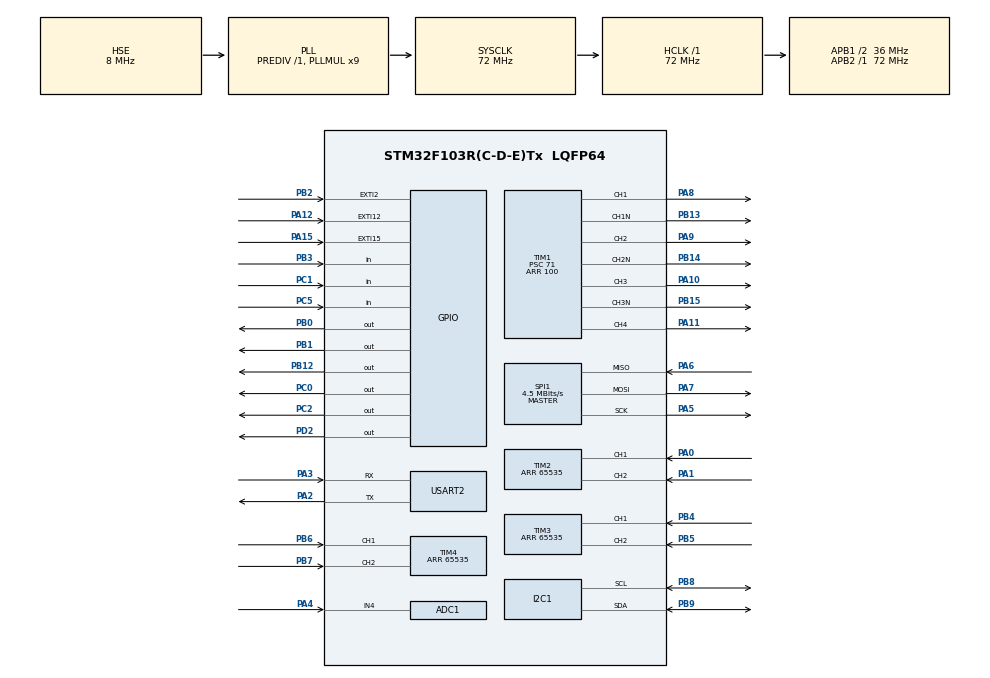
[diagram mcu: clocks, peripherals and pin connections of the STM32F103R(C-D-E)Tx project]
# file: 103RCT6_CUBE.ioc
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ADC1.Channel-0\#ChannelRegularConversion=ADC_CHANNEL_4
ADC1.NbrOfConversionFlag=1
ADC1.Rank-0\#ChannelRegularConversion=1
ADC1.SamplingTime-0\#ChannelRegularConversion=ADC_SAMPLETIME_1CYCLE_5
ADC1.master=1
Mcu.Family=STM32F1
Mcu.Name=STM32F103R(C-D-E)Tx
Mcu.Package=LQFP64
NVIC.PriorityGroup=NVIC_PRIORITYGROUP_4
NVIC.USART2_IRQn=true\:0\:0\:false\:false\:true\:true\:true
PA0-WKUP.Signal=S_TIM2_CH1_ETR
PA1.Signal=S_TIM2_CH2
PA10.Signal=S_TIM1_CH3
PA11.Signal=S_TIM1_CH4
PA12.Signal=GPXTI12
PA13.Mode=Serial_Wire
PA13.Signal=SYS_JTMS-SWDIO
PA14.Mode=Serial_Wire
PA14.Signal=SYS_JTCK-SWCLK
PA15.Signal=GPXTI15
PA2.Mode=Asynchronous
PA2.Signal=USART2_TX
PA3.Mode=Asynchronous
PA3.Signal=USART2_RX
PA4.Signal=ADCx_IN4
PA5.Mode=Full_Duplex_Master
PA5.Signal=SPI1_SCK
PA6.Mode=Full_Duplex_Master
PA6.Signal=SPI1_MISO
PA7.Mode=Full_Duplex_Master
PA7.Signal=SPI1_MOSI
PA8.Signal=S_TIM1_CH1
PA9.Signal=S_TIM1_CH2
PB0.Signal=GPIO_Output
PB1.Signal=GPIO_Output
PB12.GPIO_ModeDefaultOutputPP=GPIO_MODE_OUTPUT_PP
PB12.Signal=GPIO_Output
PB13.Mode=PWM Generation1 CH1 CH1N
PB13.Signal=TIM1_CH1N
PB14.Mode=PWM Generation2 CH2 CH2N
PB14.Signal=TIM1_CH2N
PB15.Mode=PWM Generation3 CH3 CH3N
PB15.Signal=TIM1_CH3N
PB2.Signal=GPXTI2
PB3.Signal=GPIO_Input
PB4.Signal=S_TIM3_CH1
PB5.Signal=S_TIM3_CH2
PB6.Signal=S_TIM4_CH1
PB7.Signal=S_TIM4_CH2
PB8.Mode=I2C
PB8.Signal=I2C1_SCL
PB9.Mode=I2C
PB9.Signal=I2C1_SDA
PC0.Signal=GPIO_Output
PC1.Signal=GPIO_Input
PC2.Signal=GPIO_Output
PC5.Signal=GPIO_Input
PD0-OSC_IN.Mode=HSE-External-Oscillator
PD0-OSC_IN.Signal=RCC_OSC_IN
PD1-OSC_OUT.Mode=HSE-External-Oscillator
PD1-OSC_OUT.Signal=RCC_OSC_OUT
PD2.Signal=GPIO_Output
ProjectManager.HeapSize=0x200
ProjectManager.StackSize=0x400
ProjectManager.TargetToolchain=MDK-ARM V5
RCC.ADCPresc=RCC_ADCPCLK2_DIV6
RCC.AHBFreq_Value=72000000
RCC.APB1CLKDivider=RCC_HCLK_DIV2
RCC.APB1Freq_Value=36000000
RCC.APB1TimFreq_Value=72000000
RCC.APB2Freq_Value=72000000
RCC.APB2TimFreq_Value=72000000
RCC.EnbaleCSS=true
RCC.HCLKFreq_Value=72000000
RCC.PLLMUL=RCC_PLL_MUL9
RCC.PLLSourceVirtual=RCC_PLLSOURCE_HSE
RCC.SYSCLKFreq_VALUE=72000000
RCC.SYSCLKSource=RCC_SYSCLKSOURCE_PLLCLK
RCC.USBFreq_Value=72000000
SH.ADCx_IN4.0=ADC1_IN4,IN4
SH.S_TIM1_CH1.0=TIM1_CH1,PWM Generation1 CH1 CH1N
SH.S_TIM1_CH2.0=TIM1_CH2,PWM Generation2 CH2 CH2N
SH.S_TIM1_CH3.0=TIM1_CH3,PWM Generation3 CH3 CH3N
SH.S_TIM1_CH4.0=TIM1_CH4,PWM Generation4 CH4
SH.S_TIM2_CH1_ETR.0=TIM2_CH1,Encoder_Interface
SH.S_TIM2_CH2.0=TIM2_CH2,Encoder_Interface
SH.S_TIM3_CH1.0=TIM3_CH1,Encoder_Interface
SH.S_TIM3_CH2.0=TIM3_CH2,Encoder_Interface
SH.S_TIM4_CH1.0=TIM4_CH1,Encoder_Interface
SH.S_TIM4_CH2.0=TIM4_CH2,Encoder_Interface
SPI1.BaudRatePrescaler=SPI_BAUDRATEPRESCALER_16
SPI1.CalculateBaudRate=4.5 MBits/s
SPI1.Direction=SPI_DIRECTION_2LINES
SPI1.Mode=SPI_MODE_MASTER
SPI1.VirtualType=VM_MASTER
TIM1.Channel-PWM\ Generation1\ CH1\ CH1N=TIM_CHANNEL_1
TIM1.Channel-PWM\ Generation2\ CH2\ CH2N=TIM_CHANNEL_2
TIM1.Channel-PWM\ Generation3\ CH3\ CH3N=TIM_CHANNEL_3
TIM1.Channel-PWM\ Generation4\ CH4=TIM_CHANNEL_4
TIM1.Period=100
TIM1.Prescaler=71
TIM2.EncoderMode=TIM_ENCODERMODE_TI12
TIM2.Period=65535
TIM3.EncoderMode=TIM_ENCODERMODE_TI12
TIM3.Period=65535
TIM4.EncoderMode=TIM_ENCODERMODE_TI12
TIM4.Period=65535
USART2.VirtualMode=VM_ASYNC
VP_TIM1_VS_ClockSourceINT.Mode=Internal
board=custom

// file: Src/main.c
/* USER CODE BEGIN Header */
/**
  ******************************************************************************
  * @file           : main.c
  * @brief          : Main program body
  ******************************************************************************
  * @attention
  *
  * <h2><center>&copy; Copyright (c) 2019 STMicroelectronics.
  * All rights reserved.</center></h2>
  *
  * This software component is licensed by ST under BSD 3-Clause license,
  * the "License"; You may not use this file except in compliance with the
  * License. You may obtain a copy of the License at:
  *                        opensource.org/licenses/BSD-3-Clause
  *
  ******************************************************************************
  */
/* USER CODE END Header */

#include "main.h"

/* USER CODE BEGIN Includes */
#include "core_cm3.h"
#include "stm32f1xx_ll_gpio.h"
#include "stdio.h"
/* USER CODE END Includes */

/* USER CODE BEGIN PD */
#define SYS_TICK_PERIOD 72000000

static void usart_send(void);
static void set_blink(uint16_t period);
static void led_task(void);
static void motor_1_forward(void);
static void motor_2_forward(void);
static void motor_3_forward(void);
static void motor_4_forward(void);

static void motor_1_reverse(void);
static void motor_1_brake(void);

/* USER CODE END PD */

/* USER CODE BEGIN PM */
#define USART_DEBUG huart2

/* USER CODE END PM */

ADC_HandleTypeDef hadc1;

I2C_HandleTypeDef hi2c1;

SPI_HandleTypeDef hspi1;

TIM_HandleTypeDef htim1;
TIM_HandleTypeDef htim2;
TIM_HandleTypeDef htim3;
TIM_HandleTypeDef htim4;

UART_HandleTypeDef huart2;

/* USER CODE BEGIN PV */
uint32_t led_period = 0;

/* USER CODE END PV */

void SystemClock_Config(void);
static void MX_GPIO_Init(void);
static void MX_USART2_UART_Init(void);
static void MX_ADC1_Init(void);
static void MX_I2C1_Init(void);
static void MX_SPI1_Init(void);
static void MX_TIM1_Init(void);
static void MX_TIM2_Init(void);
static void MX_TIM3_Init(void);
static void MX_TIM4_Init(void);

int main(void)
{

  /* MCU Configuration--------------------------------------------------------*/

  /* Reset of all peripherals, Initializes the Flash interface and the Systick. */
  HAL_Init();

  /* Configure the system clock */
  SystemClock_Config();

  /* Initialize all configured peripherals */
  MX_GPIO_Init();
  MX_USART2_UART_Init();
  MX_ADC1_Init();
  MX_I2C1_Init();
  MX_SPI1_Init();
  MX_TIM1_Init();
  MX_TIM2_Init();
  MX_TIM3_Init();
  MX_TIM4_Init();
  /* USER CODE BEGIN 2 */
    set_blink(1000);

    __HAL_TIM_SET_COUNTER(&htim2, 0);
    __HAL_TIM_SET_COUNTER(&htim3, 0);
    __HAL_TIM_SET_COUNTER(&htim4, 0);

    HAL_TIM_Encoder_Start(&htim2, TIM_CHANNEL_ALL);
    HAL_TIM_Encoder_Start(&htim3, TIM_CHANNEL_ALL);
    HAL_TIM_Encoder_Start(&htim4, TIM_CHANNEL_ALL);

  /* USER CODE END 2 */

  /* Infinite loop */
  while (1)
  {

    /* USER CODE BEGIN 3 */
    //usart_send();

    led_task();
  }
  /* USER CODE END 3 */
}

void SystemClock_Config(void)
{
  RCC_OscInitTypeDef RCC_OscInitStruct = {0};
  RCC_ClkInitTypeDef RCC_ClkInitStruct = {0};
  RCC_PeriphCLKInitTypeDef PeriphClkInit = {0};

  /** Initializes the CPU, AHB and APB busses clocks
  */
  RCC_OscInitStruct.OscillatorType = RCC_OSCILLATORTYPE_HSE;
  RCC_OscInitStruct.HSEState = RCC_HSE_ON;
  RCC_OscInitStruct.HSEPredivValue = RCC_HSE_PREDIV_DIV1;
  RCC_OscInitStruct.HSIState = RCC_HSI_ON;
  RCC_OscInitStruct.PLL.PLLState = RCC_PLL_ON;
  RCC_OscInitStruct.PLL.PLLSource = RCC_PLLSOURCE_HSE;
  RCC_OscInitStruct.PLL.PLLMUL = RCC_PLL_MUL9;
  if (HAL_RCC_OscConfig(&RCC_OscInitStruct) != HAL_OK)
  {
    Error_Handler();
  }
  /** Initializes the CPU, AHB and APB busses clocks
  */
  RCC_ClkInitStruct.ClockType = RCC_CLOCKTYPE_HCLK|RCC_CLOCKTYPE_SYSCLK
                              |RCC_CLOCKTYPE_PCLK1|RCC_CLOCKTYPE_PCLK2;
  RCC_ClkInitStruct.SYSCLKSource = RCC_SYSCLKSOURCE_PLLCLK;
  RCC_ClkInitStruct.AHBCLKDivider = RCC_SYSCLK_DIV1;
  RCC_ClkInitStruct.APB1CLKDivider = RCC_HCLK_DIV2;
  RCC_ClkInitStruct.APB2CLKDivider = RCC_HCLK_DIV1;

  if (HAL_RCC_ClockConfig(&RCC_ClkInitStruct, FLASH_LATENCY_2) != HAL_OK)
  {
    Error_Handler();
  }
  PeriphClkInit.PeriphClockSelection = RCC_PERIPHCLK_ADC;
  PeriphClkInit.AdcClockSelection = RCC_ADCPCLK2_DIV6;
  if (HAL_RCCEx_PeriphCLKConfig(&PeriphClkInit) != HAL_OK)
  {
    Error_Handler();
  }
  /** Enables the Clock Security System
  */
  HAL_RCC_EnableCSS();
}

static void MX_ADC1_Init(void)
{

  ADC_ChannelConfTypeDef sConfig = {0};

  /** Common config
  */
  hadc1.Instance = ADC1;
  hadc1.Init.ScanConvMode = ADC_SCAN_DISABLE;
  hadc1.Init.ContinuousConvMode = DISABLE;
  hadc1.Init.DiscontinuousConvMode = DISABLE;
  hadc1.Init.ExternalTrigConv = ADC_SOFTWARE_START;
  hadc1.Init.DataAlign = ADC_DATAALIGN_RIGHT;
  hadc1.Init.NbrOfConversion = 1;
  if (HAL_ADC_Init(&hadc1) != HAL_OK)
  {
    Error_Handler();
  }
  /** Configure Regular Channel
  */
  sConfig.Channel = ADC_CHANNEL_4;
  sConfig.Rank = ADC_REGULAR_RANK_1;
  sConfig.SamplingTime = ADC_SAMPLETIME_1CYCLE_5;
  if (HAL_ADC_ConfigChannel(&hadc1, &sConfig) != HAL_OK)
  {
    Error_Handler();
  }

}

static void MX_I2C1_Init(void)
{

  hi2c1.Instance = I2C1;
  hi2c1.Init.ClockSpeed = 100000;
  hi2c1.Init.DutyCycle = I2C_DUTYCYCLE_2;
  hi2c1.Init.OwnAddress1 = 0;
  hi2c1.Init.AddressingMode = I2C_ADDRESSINGMODE_7BIT;
  hi2c1.Init.DualAddressMode = I2C_DUALADDRESS_DISABLE;
  hi2c1.Init.OwnAddress2 = 0;
  hi2c1.Init.GeneralCallMode = I2C_GENERALCALL_DISABLE;
  hi2c1.Init.NoStretchMode = I2C_NOSTRETCH_DISABLE;
  if (HAL_I2C_Init(&hi2c1) != HAL_OK)
  {
    Error_Handler();
  }

}

static void MX_SPI1_Init(void)
{

  /* SPI1 parameter configuration*/
  hspi1.Instance = SPI1;
  hspi1.Init.Mode = SPI_MODE_MASTER;
  hspi1.Init.Direction = SPI_DIRECTION_2LINES;
  hspi1.Init.DataSize = SPI_DATASIZE_8BIT;
  hspi1.Init.CLKPolarity = SPI_POLARITY_LOW;
  hspi1.Init.CLKPhase = SPI_PHASE_1EDGE;
  hspi1.Init.NSS = SPI_NSS_SOFT;
  hspi1.Init.BaudRatePrescaler = SPI_BAUDRATEPRESCALER_16;
  hspi1.Init.FirstBit = SPI_FIRSTBIT_MSB;
  hspi1.Init.TIMode = SPI_TIMODE_DISABLE;
  hspi1.Init.CRCCalculation = SPI_CRCCALCULATION_DISABLE;
  hspi1.Init.CRCPolynomial = 10;
  if (HAL_SPI_Init(&hspi1) != HAL_OK)
  {
    Error_Handler();
  }

}

static void MX_TIM1_Init(void)
{

  TIM_ClockConfigTypeDef sClockSourceConfig = {0};
  TIM_MasterConfigTypeDef sMasterConfig = {0};
  TIM_OC_InitTypeDef sConfigOC = {0};
  TIM_BreakDeadTimeConfigTypeDef sBreakDeadTimeConfig = {0};

  htim1.Instance = TIM1;
  htim1.Init.Prescaler = 71;
  htim1.Init.CounterMode = TIM_COUNTERMODE_UP;
  htim1.Init.Period = 100;
  htim1.Init.ClockDivision = TIM_CLOCKDIVISION_DIV1;
  htim1.Init.RepetitionCounter = 0;
  htim1.Init.AutoReloadPreload = TIM_AUTORELOAD_PRELOAD_DISABLE;
  if (HAL_TIM_Base_Init(&htim1) != HAL_OK)
  {
    Error_Handler();
  }
  sClockSourceConfig.ClockSource = TIM_CLOCKSOURCE_INTERNAL;
  if (HAL_TIM_ConfigClockSource(&htim1, &sClockSourceConfig) != HAL_OK)
  {
    Error_Handler();
  }
  if (HAL_TIM_PWM_Init(&htim1) != HAL_OK)
  {
    Error_Handler();
  }
  sMasterConfig.MasterOutputTrigger = TIM_TRGO_RESET;
  sMasterConfig.MasterSlaveMode = TIM_MASTERSLAVEMODE_DISABLE;
  if (HAL_TIMEx_MasterConfigSynchronization(&htim1, &sMasterConfig) != HAL_OK)
  {
    Error_Handler();
  }
  sConfigOC.OCMode = TIM_OCMODE_PWM1;
  sConfigOC.Pulse = 0;
  sConfigOC.OCPolarity = TIM_OCPOLARITY_HIGH;
  sConfigOC.OCNPolarity = TIM_OCNPOLARITY_HIGH;
  sConfigOC.OCFastMode = TIM_OCFAST_DISABLE;
  sConfigOC.OCIdleState = TIM_OCIDLESTATE_RESET;
  sConfigOC.OCNIdleState = TIM_OCNIDLESTATE_RESET;
  if (HAL_TIM_PWM_ConfigChannel(&htim1, &sConfigOC, TIM_CHANNEL_1) != HAL_OK)
  {
    Error_Handler();
  }
  if (HAL_TIM_PWM_ConfigChannel(&htim1, &sConfigOC, TIM_CHANNEL_2) != HAL_OK)
  {
    Error_Handler();
  }
  if (HAL_TIM_PWM_ConfigChannel(&htim1, &sConfigOC, TIM_CHANNEL_3) != HAL_OK)
  {
    Error_Handler();
  }
  if (HAL_TIM_PWM_ConfigChannel(&htim1, &sConfigOC, TIM_CHANNEL_4) != HAL_OK)
  {
    Error_Handler();
  }
  sBreakDeadTimeConfig.OffStateRunMode = TIM_OSSR_DISABLE;
  sBreakDeadTimeConfig.OffStateIDLEMode = TIM_OSSI_DISABLE;
  sBreakDeadTimeConfig.LockLevel = TIM_LOCKLEVEL_OFF;
  sBreakDeadTimeConfig.DeadTime = 0;
  sBreakDeadTimeConfig.BreakState = TIM_BREAK_DISABLE;
  sBreakDeadTimeConfig.BreakPolarity = TIM_BREAKPOLARITY_HIGH;
  sBreakDeadTimeConfig.AutomaticOutput = TIM_AUTOMATICOUTPUT_DISABLE;
  if (HAL_TIMEx_ConfigBreakDeadTime(&htim1, &sBreakDeadTimeConfig) != HAL_OK)
  {
    Error_Handler();
  }
  HAL_TIM_MspPostInit(&htim1);

}

static void MX_TIM2_Init(void)
{

  TIM_Encoder_InitTypeDef sConfig = {0};
  TIM_MasterConfigTypeDef sMasterConfig = {0};

  htim2.Instance = TIM2;
  htim2.Init.Prescaler = 0;
  htim2.Init.CounterMode = TIM_COUNTERMODE_UP;
  htim2.Init.Period = 65535;
  htim2.Init.ClockDivision = TIM_CLOCKDIVISION_DIV1;
  htim2.Init.AutoReloadPreload = TIM_AUTORELOAD_PRELOAD_DISABLE;
  sConfig.EncoderMode = TIM_ENCODERMODE_TI12;
  sConfig.IC1Polarity = TIM_ICPOLARITY_RISING;
  sConfig.IC1Selection = TIM_ICSELECTION_DIRECTTI;
  sConfig.IC1Prescaler = TIM_ICPSC_DIV1;
  sConfig.IC1Filter = 0;
  sConfig.IC2Polarity = TIM_ICPOLARITY_RISING;
  sConfig.IC2Selection = TIM_ICSELECTION_DIRECTTI;
  sConfig.IC2Prescaler = TIM_ICPSC_DIV1;
  sConfig.IC2Filter = 0;
  if (HAL_TIM_Encoder_Init(&htim2, &sConfig) != HAL_OK)
  {
    Error_Handler();
  }
  sMasterConfig.MasterOutputTrigger = TIM_TRGO_RESET;
  sMasterConfig.MasterSlaveMode = TIM_MASTERSLAVEMODE_DISABLE;
  if (HAL_TIMEx_MasterConfigSynchronization(&htim2, &sMasterConfig) != HAL_OK)
  {
    Error_Handler();
  }

}

static void MX_TIM3_Init(void)
{

  TIM_Encoder_InitTypeDef sConfig = {0};
  TIM_MasterConfigTypeDef sMasterConfig = {0};

  htim3.Instance = TIM3;
  htim3.Init.Prescaler = 0;
  htim3.Init.CounterMode = TIM_COUNTERMODE_UP;
  htim3.Init.Period = 65535;
  htim3.Init.ClockDivision = TIM_CLOCKDIVISION_DIV1;
  htim3.Init.AutoReloadPreload = TIM_AUTORELOAD_PRELOAD_DISABLE;
  sConfig.EncoderMode = TIM_ENCODERMODE_TI12;
  sConfig.IC1Polarity = TIM_ICPOLARITY_RISING;
  sConfig.IC1Selection = TIM_ICSELECTION_DIRECTTI;
  sConfig.IC1Prescaler = TIM_ICPSC_DIV1;
  sConfig.IC1Filter = 0;
  sConfig.IC2Polarity = TIM_ICPOLARITY_RISING;
  sConfig.IC2Selection = TIM_ICSELECTION_DIRECTTI;
  sConfig.IC2Prescaler = TIM_ICPSC_DIV1;
  sConfig.IC2Filter = 0;
  if (HAL_TIM_Encoder_Init(&htim3, &sConfig) != HAL_OK)
  {
    Error_Handler();
  }
  sMasterConfig.MasterOutputTrigger = TIM_TRGO_RESET;
  sMasterConfig.MasterSlaveMode = TIM_MASTERSLAVEMODE_DISABLE;
  if (HAL_TIMEx_MasterConfigSynchronization(&htim3, &sMasterConfig) != HAL_OK)
  {
    Error_Handler();
  }

}

static void MX_TIM4_Init(void)
{

  TIM_Encoder_InitTypeDef sConfig = {0};
  TIM_MasterConfigTypeDef sMasterConfig = {0};

  htim4.Instance = TIM4;
  htim4.Init.Prescaler = 0;
  htim4.Init.CounterMode = TIM_COUNTERMODE_UP;
  htim4.Init.Period = 65535;
  htim4.Init.ClockDivision = TIM_CLOCKDIVISION_DIV1;
  htim4.Init.AutoReloadPreload = TIM_AUTORELOAD_PRELOAD_DISABLE;
  sConfig.EncoderMode = TIM_ENCODERMODE_TI12;
  sConfig.IC1Polarity = TIM_ICPOLARITY_RISING;
  sConfig.IC1Selection = TIM_ICSELECTION_DIRECTTI;
  sConfig.IC1Prescaler = TIM_ICPSC_DIV1;
  sConfig.IC1Filter = 0;
  sConfig.IC2Polarity = TIM_ICPOLARITY_RISING;
  sConfig.IC2Selection = TIM_ICSELECTION_DIRECTTI;
  sConfig.IC2Prescaler = TIM_ICPSC_DIV1;
  sConfig.IC2Filter = 0;
  if (HAL_TIM_Encoder_Init(&htim4, &sConfig) != HAL_OK)
  {
    Error_Handler();
  }
  sMasterConfig.MasterOutputTrigger = TIM_TRGO_RESET;
  sMasterConfig.MasterSlaveMode = TIM_MASTERSLAVEMODE_DISABLE;
  if (HAL_TIMEx_MasterConfigSynchronization(&htim4, &sMasterConfig) != HAL_OK)
  {
    Error_Handler();
  }

}

static void MX_USART2_UART_Init(void)
{

  huart2.Instance = USART2;
  huart2.Init.BaudRate = 115200;
  huart2.Init.WordLength = UART_WORDLENGTH_8B;
  huart2.Init.StopBits = UART_STOPBITS_1;
  huart2.Init.Parity = UART_PARITY_NONE;
  huart2.Init.Mode = UART_MODE_TX_RX;
  huart2.Init.HwFlowCtl = UART_HWCONTROL_NONE;
  huart2.Init.OverSampling = UART_OVERSAMPLING_16;
  if (HAL_UART_Init(&huart2) != HAL_OK)
  {
    Error_Handler();
  }

}

static void MX_GPIO_Init(void)
{
  GPIO_InitTypeDef GPIO_InitStruct = {0};

  /* GPIO Ports Clock Enable */
  __HAL_RCC_GPIOD_CLK_ENABLE();
  __HAL_RCC_GPIOC_CLK_ENABLE();
  __HAL_RCC_GPIOA_CLK_ENABLE();
  __HAL_RCC_GPIOB_CLK_ENABLE();

  /*Configure GPIO pin Output Level */
  HAL_GPIO_WritePin(GPIOC, GPIO_PIN_0|GPIO_PIN_2, GPIO_PIN_RESET);

  /*Configure GPIO pin Output Level */
  HAL_GPIO_WritePin(GPIOB, GPIO_PIN_0|GPIO_PIN_1|GPIO_PIN_12, GPIO_PIN_RESET);

  /*Configure GPIO pin Output Level */
  HAL_GPIO_WritePin(GPIOD, GPIO_PIN_2, GPIO_PIN_RESET);

  /*Configure GPIO pins : PC0 PC2 */
  GPIO_InitStruct.Pin = GPIO_PIN_0|GPIO_PIN_2;
  GPIO_InitStruct.Mode = GPIO_MODE_OUTPUT_PP;
  GPIO_InitStruct.Pull = GPIO_NOPULL;
  GPIO_InitStruct.Speed = GPIO_SPEED_FREQ_LOW;
  HAL_GPIO_Init(GPIOC, &GPIO_InitStruct);

  /*Configure GPIO pins : PC1 PC5 */
  GPIO_InitStruct.Pin = GPIO_PIN_1|GPIO_PIN_5;
  GPIO_InitStruct.Mode = GPIO_MODE_INPUT;
  GPIO_InitStruct.Pull = GPIO_NOPULL;
  HAL_GPIO_Init(GPIOC, &GPIO_InitStruct);

  /*Configure GPIO pins : PB0 PB1 PB12 */
  GPIO_InitStruct.Pin = GPIO_PIN_0|GPIO_PIN_1|GPIO_PIN_12;
  GPIO_InitStruct.Mode = GPIO_MODE_OUTPUT_PP;
  GPIO_InitStruct.Pull = GPIO_NOPULL;
  GPIO_InitStruct.Speed = GPIO_SPEED_FREQ_LOW;
  HAL_GPIO_Init(GPIOB, &GPIO_InitStruct);

  /*Configure GPIO pin : PB2 */
  GPIO_InitStruct.Pin = GPIO_PIN_2;
  GPIO_InitStruct.Mode = GPIO_MODE_IT_RISING;
  GPIO_InitStruct.Pull = GPIO_NOPULL;
  HAL_GPIO_Init(GPIOB, &GPIO_InitStruct);

  /*Configure GPIO pins : PA12 PA15 */
  GPIO_InitStruct.Pin = GPIO_PIN_12|GPIO_PIN_15;
  GPIO_InitStruct.Mode = GPIO_MODE_IT_RISING;
  GPIO_InitStruct.Pull = GPIO_NOPULL;
  HAL_GPIO_Init(GPIOA, &GPIO_InitStruct);

  /*Configure GPIO pin : PD2 */
  GPIO_InitStruct.Pin = GPIO_PIN_2;
  GPIO_InitStruct.Mode = GPIO_MODE_OUTPUT_PP;
  GPIO_InitStruct.Pull = GPIO_NOPULL;
  GPIO_InitStruct.Speed = GPIO_SPEED_FREQ_LOW;
  HAL_GPIO_Init(GPIOD, &GPIO_InitStruct);

  /*Configure GPIO pin : PB3 */
  GPIO_InitStruct.Pin = GPIO_PIN_3;
  GPIO_InitStruct.Mode = GPIO_MODE_INPUT;
  GPIO_InitStruct.Pull = GPIO_NOPULL;
  HAL_GPIO_Init(GPIOB, &GPIO_InitStruct);

}

/* USER CODE BEGIN 4 */

static void usart_send(void)
{
    uint8_t buffer[5]={1,2,3,4,5};

    HAL_UART_Transmit(&huart2, buffer, 5, 10);

}

static void set_blink(uint16_t period)
{
    LL_GPIO_ResetOutputPin(GPIOD, LL_GPIO_PIN_2);
	//led_times = times*2;
	led_period = period/2;
}

static uint16_t timer_cnt2 = 0;
static uint16_t timer_cnt3 = 0;
static uint16_t timer_cnt4 = 0;
static uint16_t timer_cnt = 0;

static void led_task(void)
{
    static uint32_t next;

    static uint32_t i = 0;
    uint32_t curr;

    curr = HAL_GetTick();
    if(curr > next)
    {
        HAL_GPIO_TogglePin(GPIOD,GPIO_PIN_2);
        next = curr + led_period;

        i++;
        if(0==(i%2))
        {
           motor_1_forward();
           motor_2_forward();
           motor_3_forward();
           motor_4_forward();

           timer_cnt2 = (uint16_t)__HAL_TIM_GET_COUNTER(&htim2);
            __HAL_TIM_SET_COUNTER(&htim2, 0);

            timer_cnt3 = (uint16_t)__HAL_TIM_GET_COUNTER(&htim3);
            __HAL_TIM_SET_COUNTER(&htim3, 0);

            timer_cnt4 = (uint16_t)__HAL_TIM_GET_COUNTER(&htim4);
            __HAL_TIM_SET_COUNTER(&htim4, 0);

           printf("\r\ntimer_cnt:%d,%d,%d",timer_cnt2,timer_cnt3,timer_cnt4);
        }
        else
        {
            //motor_1_reverse();
        }
    }
}

static void motor_1_forward(void)
{
    __HAL_TIM_SET_COMPARE(&htim1, TIM_CHANNEL_1, 80);
    HAL_TIM_PWM_Start(&htim1, TIM_CHANNEL_1);
    HAL_TIMEx_PWMN_Stop(&htim1, TIM_CHANNEL_1);
}

static void motor_2_forward(void)
{
    __HAL_TIM_SET_COMPARE(&htim1, TIM_CHANNEL_2, 80);
    HAL_TIM_PWM_Start(&htim1, TIM_CHANNEL_2);
    HAL_TIMEx_PWMN_Stop(&htim1, TIM_CHANNEL_2);
}

static void motor_3_forward(void)
{
    __HAL_TIM_SET_COMPARE(&htim1, TIM_CHANNEL_3, 80);
    HAL_TIM_PWM_Start(&htim1, TIM_CHANNEL_3);
    HAL_TIMEx_PWMN_Stop(&htim1, TIM_CHANNEL_3);
}

static void motor_4_forward(void)
{
    __HAL_TIM_SET_COMPARE(&htim1, TIM_CHANNEL_4, 50);
    HAL_TIM_PWM_Start(&htim1, TIM_CHANNEL_4);
    HAL_GPIO_WritePin(GPIOB, GPIO_PIN_12, GPIO_PIN_SET);
}

static void motor_1_reverse(void)
{
    __HAL_TIM_SET_COMPARE(&htim1, TIM_CHANNEL_4, 80);
    HAL_TIM_PWM_Start(&htim1, TIM_CHANNEL_4);
    //HAL_TIMEx_PWMN_Start(&htim1, TIM_CHANNEL_4);
    HAL_GPIO_WritePin(GPIOB, GPIO_PIN_12, GPIO_PIN_RESET);
}

static void motor_1_brake(void)
{
    __HAL_TIM_SET_COMPARE(&htim1, TIM_CHANNEL_4, 0);
    HAL_TIM_PWM_Stop(&htim1, TIM_CHANNEL_4);
    //HAL_TIMEx_PWMN_Stop(&htim1, TIM_CHANNEL_4);
    HAL_GPIO_WritePin(GPIOB, GPIO_PIN_12, GPIO_PIN_SET);
}

int fputc(int ch,FILE *f)
{
    uint8_t buffer[1] = {ch};
    HAL_UART_Transmit(&USART_DEBUG, buffer, 1, 5);
}

int fgetc(FILE *f)
{
    uint8_t buffer;
    HAL_UART_Receive(&USART_DEBUG, &buffer, 1, 5);

    return buffer;
}
/* USER CODE END 4 */

void Error_Handler(void)
{
}

/************************ (C) COPYRIGHT STMicroelectronics *****END OF FILE****/
